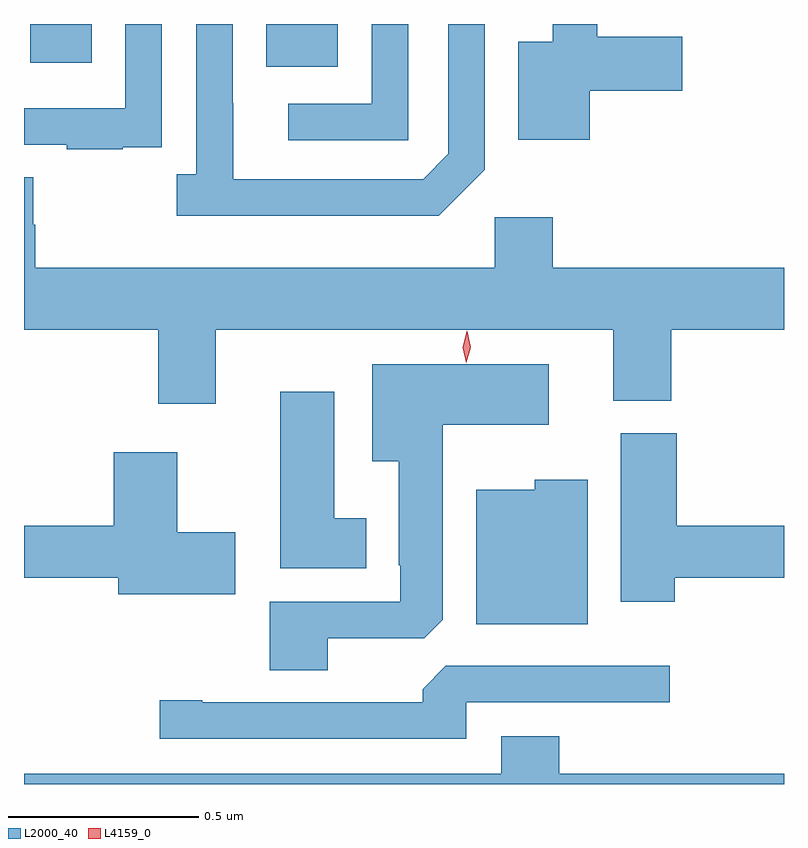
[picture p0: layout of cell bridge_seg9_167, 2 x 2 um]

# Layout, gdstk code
import gdstk
lib = gdstk.Library(unit=1e-6, precision=1e-09)
def R(c, l, rs):  # rectangles x0, y0, x1, y1
    for r in rs: c.add(gdstk.rectangle(r[:2], r[2:], *l))
def P(c, l, *ps):  # polygons
    for p in ps: c.add(gdstk.Polygon(p, *l))
L2000_40 = (2000, 40)
L4159_0 = (4159, 0)

bridge_seg9_167 = lib.new_cell('bridge_seg9_167')
R(bridge_seg9_167, L2000_40, [(250.997,1247.729,251.185,1247.841), (250.376,1247.739,250.537,1247.841)])
P(bridge_seg9_167, L2000_40, [(250.619,1247.517),(250.721,1247.517),(250.721,1247.626),(250.722,1247.626),(250.722,1247.841),(250.626,1247.841),(250.626,1247.619),(250.359,1247.619),(250.359,1247.523),(250.471,1247.523),(250.471,1247.511),(250.619,1247.511)],
  [(251.571,1247.457),(251.571,1247.841),(251.475,1247.841),(251.475,1247.499),(251.409,1247.433),(250.909,1247.433),(250.909,1247.633),(250.908,1247.633),(250.908,1247.841),(250.812,1247.841),(250.812,1247.446),(250.761,1247.446),(250.761,1247.336),(251.45,1247.336)],
  [(251.37,1247.841),(251.274,1247.841),(251.274,1247.631),(251.055,1247.631),(251.055,1247.535),(251.37,1247.535)],
  [(251.848,1247.665),(252.091,1247.665),(252.091,1247.807),(251.867,1247.807),(251.867,1247.841),(251.75,1247.841),(251.75,1247.794),(251.66,1247.794),(251.66,1247.537),(251.848,1247.537)],
  [(251.75,1247.332),(251.598,1247.332),(251.598,1247.2),(250.388,1247.2),(250.388,1247.313),(250.383,1247.313),(250.383,1247.438),(250.359,1247.438),(250.359,1247.036),(250.712,1247.036),(250.712,1246.842),(250.864,1246.842),(250.864,1247.036),(251.909,1247.036),(251.909,1246.849),(252.062,1246.849),(252.062,1247.036),(252.359,1247.036),(252.359,1247.2),(251.75,1247.2)],
  [(251.158,1246.224),(251.412,1246.224),(251.461,1246.273),(251.461,1246.787),(251.74,1246.787),(251.74,1246.945),(251.276,1246.945),(251.276,1246.691),(251.345,1246.691),(251.345,1246.417),(251.349,1246.417),(251.349,1246.32),(251.006,1246.32),(251.006,1246.141),(251.158,1246.141)],
  [(251.26,1246.54),(251.176,1246.54),(251.176,1246.873),(251.033,1246.873),(251.033,1246.409),(251.26,1246.409)],
  [(252.072,1246.384),(252.359,1246.384),(252.359,1246.52),(252.077,1246.52),(252.077,1246.764),(251.93,1246.764),(251.93,1246.32),(252.072,1246.32)],
  [(250.915,1246.503),(250.762,1246.503),(250.762,1246.714),(250.595,1246.714),(250.595,1246.52),(250.359,1246.52),(250.359,1246.384),(250.607,1246.384),(250.607,1246.34),(250.915,1246.34)],
  [(251.842,1246.642),(251.703,1246.642),(251.703,1246.615),(251.549,1246.615),(251.549,1246.262),(251.842,1246.262)],
  [(251.523,1246.056),(252.058,1246.056),(252.058,1246.152),(251.469,1246.152),(251.408,1246.09),(251.408,1246.056),(250.828,1246.056),(250.828,1246.061),(250.716,1246.061),(250.716,1245.96),(251.523,1245.96)],
  [(252.359,1245.868),(251.768,1245.868),(251.768,1245.967),(251.615,1245.967),(251.615,1245.868),(250.359,1245.868),(250.359,1245.841),(252.359,1245.841)])
P(bridge_seg9_167, L4159_0, [(251.523,1246.95),(251.523,1246.95),(251.514,1246.991),(251.524,1247.032),(251.525,1247.032),(251.525,1247.032),(251.534,1246.991),(251.523,1246.95)])

lib.write_gds('bridge_seg9_167.gds')
